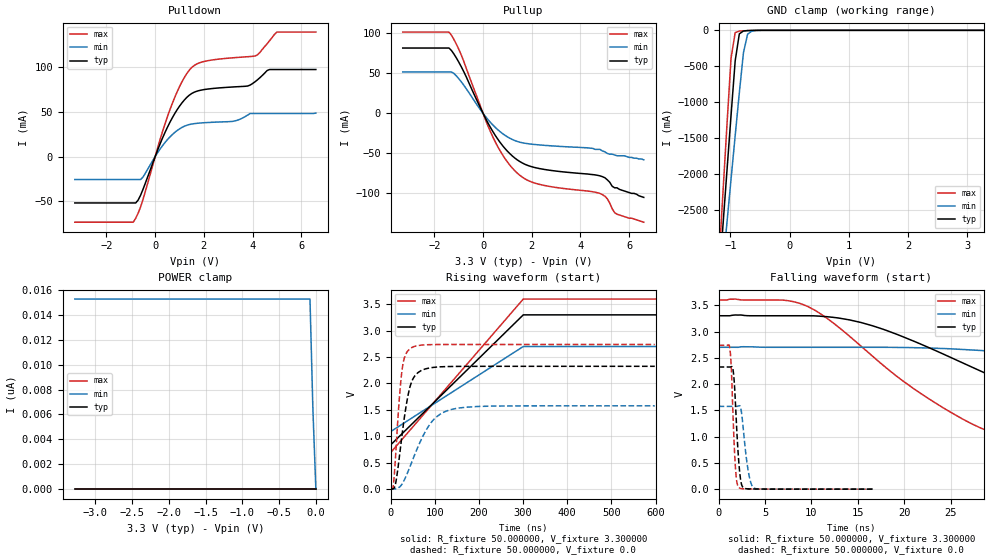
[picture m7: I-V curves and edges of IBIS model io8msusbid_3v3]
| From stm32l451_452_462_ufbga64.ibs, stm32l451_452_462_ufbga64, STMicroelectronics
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|   Model io8msusbid_3v3
[Model]  io8msusbid_3v3
Model_type I/O
Polarity   Non-Inverting
Enable   Active-Low
Vinl =   0.990000V
Vinh =   2.310000V
Vmeas =  1.650000V
Cref =   100.000000nF
Rref =   1.000000k
Vref =   3.300000V
C_comp   2.116400pF   2.092700pF   2.152900pF
[Temperature Range]   25.000000   0.125000k   -40.000000
[Pullup Reference]   3.300000V   2.700000V   3.600000V
[Pulldown Reference]   0.0V   0.0V   0.0V
[POWER Clamp Reference]   3.300000V   2.700000V   3.600000V
[GND Clamp Reference]   0.0V   0.0V   0.0V
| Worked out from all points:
|   slope of the pulldown table from 0 to 0.495 V, typ, clamps not added: 15.4 ohm
|   slope of the pullup table from 0 to 0.495 V, typ, clamps not added: 18.1 ohm
|   GND clamp passes 1 mA (typ) near -0.59 V on its own axis
|   rising waveform, R_fixture 50.000000, V_fixture 3.300000: 20-80 % time 180ns typ, 180ns min, 180ns max; typ from 0.835 V to 3.3 V
|   rising waveform, R_fixture 50.000000, V_fixture 0.0: 20-80 % time 23.9ns typ, 53.3ns min, 14.3ns max; typ from 0 V to 2.33 V
|   falling waveform, R_fixture 50.000000, V_fixture 3.300000: 20-80 % time 21ns typ, 41.6ns min, 13.6ns max; typ from 3.3 V to 0.835 V
|   falling waveform, R_fixture 50.000000, V_fixture 0.0: 20-80 % time 450ps typ, 628ps min, 372ps max; typ from 2.33 V to 0 V
[Pulldown]
|Voltage   I(typ)   I(min)   I(max)
-3.3V     -51.62mA   -25.53mA   -73.04mA
-900mV    -51.62mA   -25.53mA   -73.04mA
-500mV    -36.51mA   -22.79mA   -47.71mA
200mV     14.03mA    8.316mA    18.9mA
700mV     42.99mA    24.4mA     58.9mA
1.2V      63.06mA    33.8mA     88.14mA
1.6V      71.64mA    36.67mA    101.4mA
3.2V      77.51mA    39.29mA    110mA
4.1V      83.27mA    47.98mA    111.9mA
4.6V      95.83mA    47.98mA    125.7mA
5V        96.94mA    47.98mA    138.6mA
6.6V      96.94mA    48.43mA    138.6mA
[Pullup]
|Voltage   I(typ)   I(min)   I(max)
-3.3V     81.68mA    51.74mA    101.6mA
-1.4V     81.68mA    51.74mA    101.6mA
-900mV    58.51mA    39.6mA     73.28mA
100mV     -6.165mA   -3.962mA   -8.038mA
500mV     -27.53mA   -17.49mA   -35.6mA
1V        -47.29mA   -29.38mA   -60.81mA
1.5V      -60.05mA   -35.95mA   -77.15mA
2.4V      -69.45mA   -39.66mA   -89.34mA
4.8V      -78.1mA    -45mA      -100.1mA
5.1V      -83mA      -50mA      -106.7mA
5.5V      -93mA      -53mA      -126mA
6.6V      -105mA     -58mA      -136mA
[GND_clamp]
|Voltage   I(typ)   I(min)   I(max)
-3.3V     -9.914A    -9.595A    -9.188A
-1.2V     -3.541A    -3.911A    -3.279A
-1.13V    -2.75A     -3.295A    -2.301A
-1.06V    -1.963A    -2.68A     -1.33A
-990mV    -1.183A    -2.069A    -386.7mA
-920mV    -424.7mA   -1.463A    -31.42mA
-850mV    -49.12mA   -868.7mA   -10.48mA
-780mV    -9.121mA   -308.3mA   -6.715mA
-710mV    -3.648mA   -53.81mA   -3.986mA
-640mV    -1.726mA   -11.03mA   -1.885mA
-430mV    -22.46uA   -116.8uA   -9.748uA
3.28V     0A         0A         0A
[POWER_clamp]
|Voltage   I(typ)   I(min)   I(max)
-3.28V    0A         15.27nA    0A
-80mV     0A         15.27nA    0A
-40mV     0A         6.354nA    0A
0V        0A         0A         0A
[Ramp]
| variable   typ   min   max
dV/dt_r  1.39476/23.89676n   0.94506/53.25050n   1.64316/14.30463n
dV/dt_f  1.47899/21.07093n   0.96780/44.63517n   1.74604/13.57871n
R_load = 50.000000
[Rising Waveform]
R_fixture= 50.000000
V_fixture= 3.300000
V_fixture_min= 2.700000
V_fixture_max= 3.600000
|time   V(typ)   V(min)   V(max)
0s        835mV      1.087V     689.9mV
300.3ns   3.3V       2.7V       3.6V
600.6ns   3.3V       2.7V       3.6V
29.73us   3.3V       2.7V       3.6V
[Rising Waveform]
R_fixture= 50.000000
V_fixture= 0.0
V_fixture_min= 0.0
V_fixture_max= 0.0
|time   V(typ)   V(min)   V(max)
0s        3.26nV     60.03nV    3.11nV
7.207ns   9.458mV    -120.2uV   160.8mV
12.01ns   141.2mV    1.887mV    747.6mV
19.22ns   576.8mV    29.88mV    1.673V
26.43ns   1.072V     101.7mV    2.295V
37.24ns   1.683V     288.2mV    2.601V
48.05ns   2.043V     513.5mV    2.682V
92.49ns   2.3V       1.267V     2.736V
140.5ns   2.321V     1.512V     2.739V
598.2ns   2.325V     1.575V     2.739V
[Falling Waveform]
R_fixture= 50.000000
V_fixture= 3.300000
V_fixture_min= 2.700000
V_fixture_max= 3.600000
|time   V(typ)   V(min)   V(max)
0s        3.3V       2.7V       3.6V
9.61ns    3.3V       2.7V       3.476V
16.52ns   3.113V     2.7V       2.541V
24.92ns   2.513V     2.672V     1.471V
29.73ns   2.129V     2.619V     1.061V
34.53ns   1.78V      2.543V     888.3mV
45.35ns   1.198V     2.309V     774.6mV
57.66ns   992.8mV    1.996V     728.6mV
92.79ns   866.9mV    1.304V     696mV
149.5ns   835mV      1.087V     689.9mV
[Falling Waveform]
R_fixture= 50.000000
V_fixture= 0.0
V_fixture_min= 0.0
V_fixture_max= 0.0
|time   V(typ)   V(min)   V(max)
0s        2.325V     1.575V     2.739V
1.201ns   2.324V     1.575V     2.691V
1.368ns   2.331V     1.575V     2.301V
1.535ns   2.294V     1.575V     1.489V
1.802ns   1.677V     1.575V     442.9mV
2.202ns   455.9mV    1.587V     29.18mV
2.569ns   48.02mV    1.304V     8.052mV
3.203ns   5.591mV    333.7mV    4.377mV
3.804ns   3.091mV    21.86mV    3.334mV
16.62ns   3.26nV     60.03nV    3.11nV
